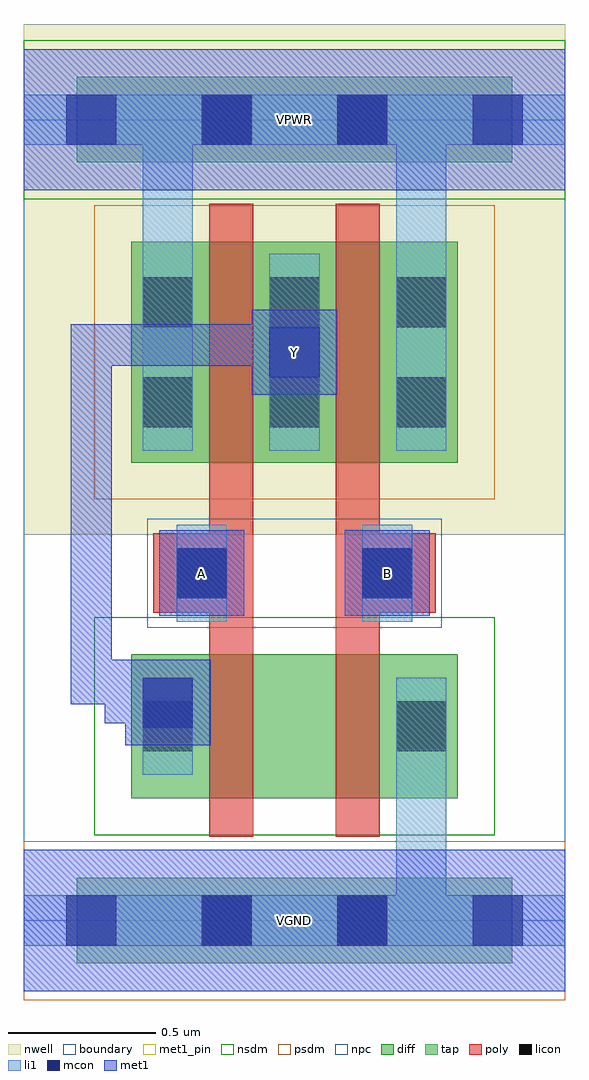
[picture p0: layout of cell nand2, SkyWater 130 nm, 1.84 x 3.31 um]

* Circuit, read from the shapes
.subckt nand2 A B VGND VPWR Y
XM1 n1 A Y VGND sky130_fd_pr__nfet_01v8 w=0.49 l=0.15
XM2 VGND B n1 VGND sky130_fd_pr__nfet_01v8 w=0.49 l=0.15
XM3 Y A VPWR VPWR sky130_fd_pr__pfet_01v8 w=0.75 l=0.15
XM4 VPWR B Y VPWR sky130_fd_pr__pfet_01v8 w=0.75 l=0.15
.ends

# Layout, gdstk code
import gdstk
lib = gdstk.Library(unit=1e-6, precision=1e-09)
def R(c, l, rs):  # rectangles x0, y0, x1, y1
    for r in rs: c.add(gdstk.rectangle(r[:2], r[2:], *l))
def A(c, l, x, y, w, h, nx, ny, dx, dy):  # array of equal rectangles
    R(c, l, [(x+i*dx, y+j*dy, x+i*dx+w, y+j*dy+h) for i in range(nx) for j in range(ny)])
nwell = (64, 20)
diff = (65, 20)
tap = (65, 44)
poly = (66, 20)
licon = (66, 44)
li1 = (67, 20)
mcon = (67, 44)
met1_pin = (68, 16)
met1 = (68, 20)
nsdm = (93, 44)
psdm = (94, 20)
npc = (95, 20)
boundary = (235, 4)

nand2 = lib.new_cell('nand2')
R(nand2, nwell, [(0,1.31,1.84,3.045)])
R(nand2, diff, [(0.365,0.415,1.475,0.905), (0.365,1.555,1.475,2.305)])
R(nand2, tap, [(0.18,-0.145,1.66,0.145), (0.18,2.575,1.66,2.865)])
R(nand2, poly, [(0.63,0.285,0.78,2.435), (1.06,0.285,1.21,2.435), (0.44,1.045,0.77,1.315), (1.07,1.045,1.4,1.315)])
A(nand2, licon, 0.405, 1.675, 0.17, 0.17, 3, 2, 0.43, 0.34)
R(nand2, licon, [(0.605,-0.085,0.775,0.085), (1.065,-0.085,1.235,0.085), (0.405,0.575,0.575,0.745), (1.265,0.575,1.435,0.745), (0.52,1.095,0.69,1.265), (1.15,1.095,1.32,1.265), (0.605,2.635,0.775,2.805), (1.065,2.635,1.235,2.805)])
A(nand2, li1, 0.405, 1.595, 0.17, 0.67, 3, 1, 0.43, 0)
R(nand2, li1, [(0,-0.085,1.84,0.085), (1.265,-0.085,1.435,0.825), (0.405,0.495,0.575,0.825), (1.265,0.495,1.435,0.825), (0.52,1.015,0.69,1.345), (1.15,1.015,1.32,1.345), (0.405,1.595,0.575,2.805), (1.265,1.595,1.435,2.805), (0,2.635,1.84,2.805)])
A(nand2, mcon, 0.145, -0.085, 0.17, 0.17, 4, 2, 0.46, 2.72)
R(nand2, mcon, [(0.405,0.655,0.575,0.825), (0.52,1.095,0.69,1.265), (1.15,1.095,1.32,1.265), (0.835,1.845,1.005,2.015)])
R(nand2, met1_pin, [(0,-0.24,1.84,0.24), (0.46,1.035,0.75,1.325), (1.09,1.035,1.38,1.325), (0.775,1.785,1.065,2.075), (0,2.48,1.84,2.96)])
R(nand2, met1, [(0,-0.24,1.84,0.24), (0.345,0.595,0.635,0.885), (0.275,0.67,0.56,0.81), (0.275,0.67,0.415,0.875), (0.16,0.735,0.3,2.025), (0.16,0.735,0.415,0.875), (0.3,0.735,0.345,0.885), (0.3,0.735,0.345,0.885), (0.3,0.735,0.345,0.885), (0.3,0.735,0.345,0.885), (0.3,0.735,0.345,0.885), (0.3,0.735,0.345,0.885), (0.46,1.035,0.75,1.325), (1.09,1.035,1.38,1.325), (0.775,1.785,1.065,2.075), (0.16,1.885,0.99,2.025), (0.85,1.885,0.99,2.025), (0,2.48,1.84,2.96)])
R(nand2, nsdm, [(0.24,0.29,1.6,1.03), (0,2.45,1.84,2.99)])
R(nand2, psdm, [(0,-0.27,1.84,0.27), (0.24,1.43,1.6,2.43)])
R(nand2, npc, [(0.42,0.995,1.42,1.365)])
R(nand2, boundary, [(0,0,1.84,2.72)])
nand2.add(gdstk.Label('A', (0.605,1.18), layer=68, texttype=5))
nand2.add(gdstk.Label('B', (1.235,1.18), layer=68, texttype=5))
nand2.add(gdstk.Label('Y', (0.92,1.93), layer=68, texttype=5))
nand2.add(gdstk.Label('VPWR', (0.92,2.72), layer=68, texttype=5))
nand2.add(gdstk.Label('VGND', (0.92,0), layer=68, texttype=5))
nand2.add(gdstk.Label('A', (0.605,1.18), layer=68, texttype=16))
nand2.add(gdstk.Label('B', (1.235,1.18), layer=68, texttype=16))
nand2.add(gdstk.Label('Y', (0.92,1.93), layer=68, texttype=16))
nand2.add(gdstk.Label('VPWR', (0.92,2.72), layer=68, texttype=16))
nand2.add(gdstk.Label('VGND', (0.92,0), layer=68, texttype=16))

lib.write_gds('nand2.gds')
